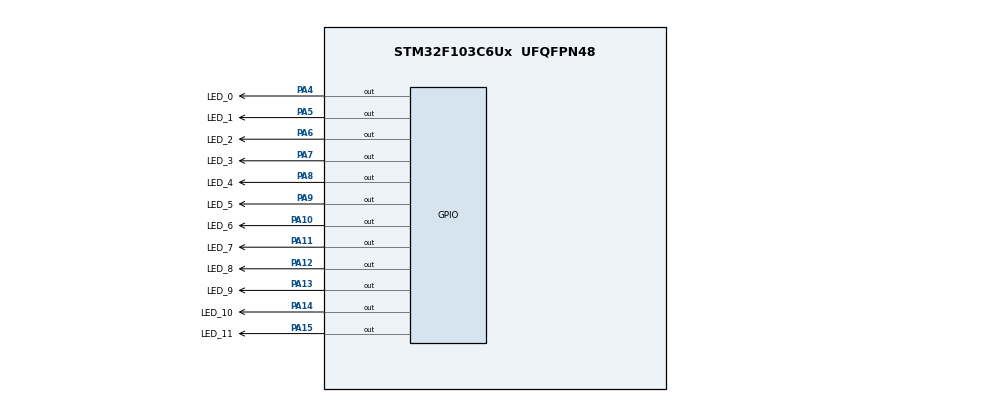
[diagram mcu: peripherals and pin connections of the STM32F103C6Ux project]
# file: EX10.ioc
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Mcu.Family=STM32F1
Mcu.Name=STM32F103C6Ux
Mcu.Package=UFQFPN48
NVIC.PriorityGroup=NVIC_PRIORITYGROUP_4
PA10.GPIO_Label=LED_6
PA10.Signal=GPIO_Output
PA11.GPIO_Label=LED_7
PA11.Signal=GPIO_Output
PA12.GPIO_Label=LED_8
PA12.Signal=GPIO_Output
PA13.GPIO_Label=LED_9
PA13.Signal=GPIO_Output
PA14.GPIO_Label=LED_10
PA14.Signal=GPIO_Output
PA15.GPIO_Label=LED_11
PA15.Signal=GPIO_Output
PA4.GPIO_Label=LED_0
PA4.Signal=GPIO_Output
PA5.GPIO_Label=LED_1
PA5.Signal=GPIO_Output
PA6.GPIO_Label=LED_2
PA6.Signal=GPIO_Output
PA7.GPIO_Label=LED_3
PA7.Signal=GPIO_Output
PA8.GPIO_Label=LED_4
PA8.Signal=GPIO_Output
PA9.GPIO_Label=LED_5
PA9.Signal=GPIO_Output
ProjectManager.HeapSize=0x200
ProjectManager.StackSize=0x400
ProjectManager.TargetToolchain=STM32CubeIDE
RCC.APB1Freq_Value=8000000
RCC.APB2Freq_Value=8000000
VP_SYS_VS_ND.Mode=No_Debug
board=custom

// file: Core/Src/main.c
/* USER CODE BEGIN Header */
/**
  ******************************************************************************
  * @file           : main.c
  * @brief          : Main program body
  ******************************************************************************
  * @attention
  *
  * <h2><center>&copy; Copyright (c) 2022 STMicroelectronics.
  * All rights reserved.</center></h2>
  *
  * This software component is licensed by ST under BSD 3-Clause license,
  * the "License"; You may not use this file except in compliance with the
  * License. You may obtain a copy of the License at:
  *                        opensource.org/licenses/BSD-3-Clause
  *
  ******************************************************************************
  */
/* USER CODE END Header */
#include "main.h"

void SystemClock_Config(void);
static void MX_GPIO_Init(void);

int main(void)
{

  /* MCU Configuration--------------------------------------------------------*/

  /* Reset of all peripherals, Initializes the Flash interface and the Systick. */
  HAL_Init();

  /* Configure the system clock */
  SystemClock_Config();

  /* Initialize all configured peripherals */
  MX_GPIO_Init();

  /* Infinite loop */
  /* USER CODE BEGIN WHILE */
  void clearAllClock()
  {
  	HAL_GPIO_WritePin ( LED_0_GPIO_Port , LED_0_Pin ,GPIO_PIN_SET ) ;
  	HAL_GPIO_WritePin ( LED_1_GPIO_Port , LED_1_Pin ,GPIO_PIN_SET ) ;
  	HAL_GPIO_WritePin ( LED_2_GPIO_Port , LED_2_Pin ,GPIO_PIN_SET ) ;
  	HAL_GPIO_WritePin ( LED_3_GPIO_Port , LED_3_Pin ,GPIO_PIN_SET ) ;
  	HAL_GPIO_WritePin ( LED_4_GPIO_Port , LED_4_Pin ,GPIO_PIN_SET ) ;
  	HAL_GPIO_WritePin ( LED_5_GPIO_Port , LED_5_Pin ,GPIO_PIN_SET ) ;
  	HAL_GPIO_WritePin ( LED_6_GPIO_Port , LED_6_Pin ,GPIO_PIN_SET ) ;
  	HAL_GPIO_WritePin ( LED_7_GPIO_Port , LED_7_Pin ,GPIO_PIN_SET ) ;
  	HAL_GPIO_WritePin ( LED_8_GPIO_Port , LED_8_Pin ,GPIO_PIN_SET ) ;
  	HAL_GPIO_WritePin ( LED_9_GPIO_Port , LED_9_Pin ,GPIO_PIN_SET ) ;
  	HAL_GPIO_WritePin ( LED_10_GPIO_Port , LED_10_Pin ,GPIO_PIN_SET ) ;
  	HAL_GPIO_WritePin ( LED_11_GPIO_Port , LED_11_Pin ,GPIO_PIN_SET ) ;
  }

  void clearNumberOnClock(int num)
  {
  	switch(num){
  				case 0:
  				HAL_GPIO_WritePin ( LED_0_GPIO_Port , LED_0_Pin ,
  												   	  	  	 GPIO_PIN_SET ) ;
  				break;
  				case 1:
  				HAL_GPIO_WritePin ( LED_1_GPIO_Port , LED_1_Pin ,
  														   	  	  	 GPIO_PIN_SET ) ;
  				break;
  				case 2:
  				HAL_GPIO_WritePin ( LED_2_GPIO_Port , LED_2_Pin ,
  														   	  	  	 GPIO_PIN_SET ) ;
  				break;
  				case 3:
  				HAL_GPIO_WritePin ( LED_3_GPIO_Port , LED_3_Pin ,
  														   	  	  	 GPIO_PIN_SET ) ;
  				break;
  				case 4:
  				HAL_GPIO_WritePin ( LED_4_GPIO_Port , LED_4_Pin ,
  														   	  	  	 GPIO_PIN_SET ) ;
  				break;
  				case 5:
  				HAL_GPIO_WritePin ( LED_5_GPIO_Port , LED_5_Pin ,
  														   	  	  	 GPIO_PIN_SET ) ;
  				break;
  				case 6:
  				HAL_GPIO_WritePin ( LED_6_GPIO_Port , LED_6_Pin ,
  														   	  	  	 GPIO_PIN_SET ) ;
  				break;
  				case 7:
  				HAL_GPIO_WritePin ( LED_7_GPIO_Port , LED_7_Pin ,
  														   	  	  	 GPIO_PIN_SET ) ;
  				break;
  				case 8:
  				HAL_GPIO_WritePin ( LED_8_GPIO_Port , LED_8_Pin ,
  														   	  	  	 GPIO_PIN_SET ) ;
  				break;
  				case 9:
  				HAL_GPIO_WritePin ( LED_9_GPIO_Port , LED_9_Pin ,
  														   	  	  	 GPIO_PIN_SET ) ;
  				break;
  				case 10:
  				HAL_GPIO_WritePin ( LED_10_GPIO_Port , LED_10_Pin ,
  														   	  	  	 GPIO_PIN_SET ) ;
  				break;
  				default:
  				HAL_GPIO_WritePin ( LED_11_GPIO_Port , LED_11_Pin ,
  														   	  	  	 GPIO_PIN_SET ) ;
  				}
  }
  void setNumberOnClock(int num)
  {

  		switch(num){
  			case 0:
  				HAL_GPIO_WritePin ( LED_0_GPIO_Port , LED_0_Pin , GPIO_PIN_RESET ) ;
  				break;
  			case 1:
  				HAL_GPIO_WritePin ( LED_1_GPIO_Port , LED_1_Pin ,GPIO_PIN_RESET ) ;
  				break;
  			case 2:
  				HAL_GPIO_WritePin ( LED_2_GPIO_Port , LED_2_Pin ,GPIO_PIN_RESET ) ;
  				break;
  			case 3:
  				HAL_GPIO_WritePin ( LED_3_GPIO_Port , LED_3_Pin ,GPIO_PIN_RESET ) ;
  				break;
  			case 4:
  				HAL_GPIO_WritePin ( LED_4_GPIO_Port , LED_4_Pin ,GPIO_PIN_RESET ) ;
  				break;
  			case 5:
  				HAL_GPIO_WritePin ( LED_5_GPIO_Port , LED_5_Pin ,GPIO_PIN_RESET ) ;
  				break;
  			case 6:
  				HAL_GPIO_WritePin ( LED_6_GPIO_Port , LED_6_Pin ,GPIO_PIN_RESET ) ;
  				break;
  			case 7:
  				HAL_GPIO_WritePin ( LED_7_GPIO_Port , LED_7_Pin ,GPIO_PIN_RESET ) ;
  				break;
  			case 8:
  				HAL_GPIO_WritePin ( LED_8_GPIO_Port , LED_8_Pin ,GPIO_PIN_RESET ) ;
  				break;
  			case 9:
  				HAL_GPIO_WritePin ( LED_9_GPIO_Port , LED_9_Pin ,GPIO_PIN_RESET ) ;
  				break;
  			case 10:
  				HAL_GPIO_WritePin ( LED_10_GPIO_Port , LED_10_Pin ,GPIO_PIN_RESET ) ;
  				break;
  			default:
  				HAL_GPIO_WritePin ( LED_11_GPIO_Port , LED_11_Pin ,GPIO_PIN_RESET ) ;
  		}
      }
  clearAllClock();

  int sec,min,hour;                            // TIME VARIABLES
  int pre_sec, pre_min , pre_hour;             // VARIABLES TO SAVE TIME - 1
  pre_sec=0; pre_min=0 ; pre_hour=0;           // SET ALL BY 0
  sec=0;min=0;hour=0;                          //
  while (1)
  {
    /* USER CODE END WHILE */
  // TIME IS 60 BUT WWE JUST HAVE 12 LEDS => 60/5 = 12
	  if(sec>=12){                                       // if second by 12 (60s) we will add 1 minute
		  sec=0;
		  min++;
		  if(min>=12){                                  // if minute by 12 (60s) we will add 1 hour
			  min=0;
			  hour++;
			  if(hour>=12){                             // if hour by 12 we will reset hour back to 0
				  hour=0;
			  }
		  }
	  }
	  pre_sec = sec-1;                                  // TIME - 1 (sec)
	  pre_min = min -1 ;                                // TIME - 1 (min)
	  pre_hour = hour -1;                               // TIME - 1 (hour)
	  if(pre_sec==-1) pre_sec=11;                       //
	  if(pre_min==-1) pre_min==11;                      // IF TIME - 1 = 0 (TIME =0) we will reset TIME -1 to 11
	  if(pre_hour==-1) pre_hour ==11;                   //
	  if(pre_sec!=min && pre_sec!= hour ) clearNumberOnClock(pre_sec);  //
	  if(pre_min!= sec && pre_min!= hour)  clearNumberOnClock(pre_min); //   CLEAR THE PRE-TIME TO MAKE THE CLOCK RUN
	  if(pre_hour!= min&& pre_hour!=sec)  clearNumberOnClock(pre_hour); //
	  setNumberOnClock(sec++);                              // SET TIME ON CLOCK
	  setNumberOnClock(min);
	  setNumberOnClock(hour);
	  HAL_Delay(100);
  }
}

void SystemClock_Config(void)
{
  RCC_OscInitTypeDef RCC_OscInitStruct = {0};
  RCC_ClkInitTypeDef RCC_ClkInitStruct = {0};

  /** Initializes the RCC Oscillators according to the specified parameters
  * in the RCC_OscInitTypeDef structure.
  */
  RCC_OscInitStruct.OscillatorType = RCC_OSCILLATORTYPE_HSI;
  RCC_OscInitStruct.HSIState = RCC_HSI_ON;
  RCC_OscInitStruct.HSICalibrationValue = RCC_HSICALIBRATION_DEFAULT;
  RCC_OscInitStruct.PLL.PLLState = RCC_PLL_NONE;
  if (HAL_RCC_OscConfig(&RCC_OscInitStruct) != HAL_OK)
  {
    Error_Handler();
  }
  /** Initializes the CPU, AHB and APB buses clocks
  */
  RCC_ClkInitStruct.ClockType = RCC_CLOCKTYPE_HCLK|RCC_CLOCKTYPE_SYSCLK
                              |RCC_CLOCKTYPE_PCLK1|RCC_CLOCKTYPE_PCLK2;
  RCC_ClkInitStruct.SYSCLKSource = RCC_SYSCLKSOURCE_HSI;
  RCC_ClkInitStruct.AHBCLKDivider = RCC_SYSCLK_DIV1;
  RCC_ClkInitStruct.APB1CLKDivider = RCC_HCLK_DIV1;
  RCC_ClkInitStruct.APB2CLKDivider = RCC_HCLK_DIV1;

  if (HAL_RCC_ClockConfig(&RCC_ClkInitStruct, FLASH_LATENCY_0) != HAL_OK)
  {
    Error_Handler();
  }
}

static void MX_GPIO_Init(void)
{
  GPIO_InitTypeDef GPIO_InitStruct = {0};

  /* GPIO Ports Clock Enable */
  __HAL_RCC_GPIOA_CLK_ENABLE();

  /*Configure GPIO pin Output Level */
  HAL_GPIO_WritePin(GPIOA, LED_0_Pin|LED_1_Pin|LED_2_Pin|LED_3_Pin
                          |LED_4_Pin|LED_5_Pin|LED_6_Pin|LED_7_Pin
                          |LED_8_Pin|LED_9_Pin|LED_10_Pin|LED_11_Pin, GPIO_PIN_RESET);

  /*Configure GPIO pins : LED_0_Pin LED_1_Pin LED_2_Pin LED_3_Pin
                           LED_4_Pin LED_5_Pin LED_6_Pin LED_7_Pin
                           LED_8_Pin LED_9_Pin LED_10_Pin LED_11_Pin */
  GPIO_InitStruct.Pin = LED_0_Pin|LED_1_Pin|LED_2_Pin|LED_3_Pin
                          |LED_4_Pin|LED_5_Pin|LED_6_Pin|LED_7_Pin
                          |LED_8_Pin|LED_9_Pin|LED_10_Pin|LED_11_Pin;
  GPIO_InitStruct.Mode = GPIO_MODE_OUTPUT_PP;
  GPIO_InitStruct.Pull = GPIO_NOPULL;
  GPIO_InitStruct.Speed = GPIO_SPEED_FREQ_LOW;
  HAL_GPIO_Init(GPIOA, &GPIO_InitStruct);

}

void Error_Handler(void)
{
  __disable_irq();
  while (1)
  {
  }
}

/************************ (C) COPYRIGHT STMicroelectronics *****END OF FILE****/
